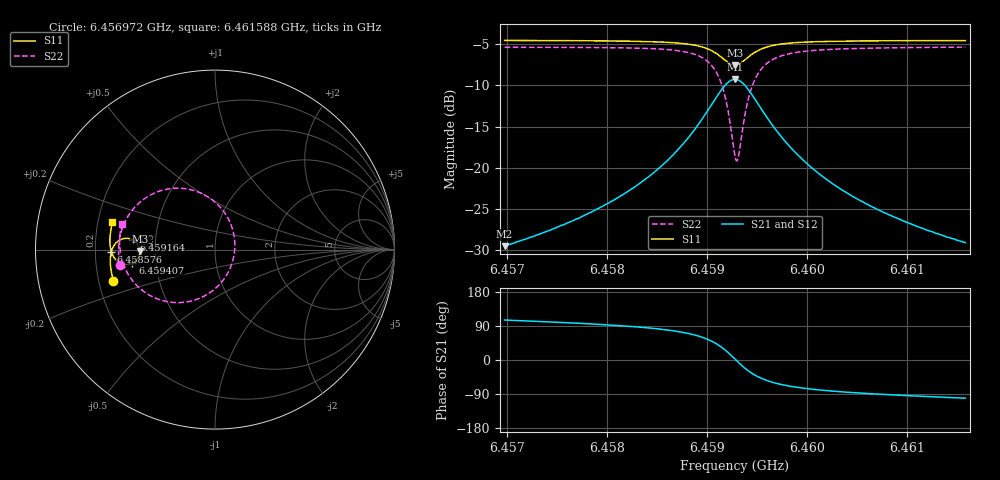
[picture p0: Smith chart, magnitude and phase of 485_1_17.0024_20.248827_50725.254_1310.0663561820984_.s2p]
#  HZ  S  RI  R  50.00
! Rohde & Schwarz Vector Network Analyzer
! Rohde-Schwarz,ZNB20-2Port,1311601062101988,3.16
! Created: UTC 3/20/2024, 11:13:50 PM
! freq[Hz]  re:S11  im:S11  re:S21  im:S21  re:S12  im:S12  re:S22  im:S22
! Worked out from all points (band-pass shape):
!   401 points, 6.456972 GHz to 6.461588 GHz, reference 50 ohm
!   highest |S21| = -9.26 dB at 6.45928 GHz (marker M1); lowest = -29.5 dB at 6.456972 GHz (marker M2)
!   |S21| within 3 dB of the highest: 6.459049 GHz to 6.459511 GHz (461.9 kHz wide, 0.00715 % of centre)
!   lowest |S11| = -7.6 dB at 6.45928 GHz (marker M3), VSWR 2.44, Z = 20.5 - j0.492 ohm
!   |S11| at or under -10 dB: nowhere
!   |S22| runs from -19.1 to -5.4 dB; largest |S21 - S12| = 0.014
!   S11 on the Smith chart (normalised r, x): 6.456972 GHz: 0.26, -0.14; 6.458576 GHz: 0.27, -0.01; 6.459164 GHz: 0.37, +0.05; 6.459407 GHz: 0.37, -0.07; 6.461588 GHz: 0.26, +0.12
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6.4569716e9  -0.5667 -0.1725  -0.00899 0.0322  -0.00724 0.0324  -0.5316 -0.0854
6.4577448e9  -0.5807 -0.1049  -0.00573 0.0502  -0.00311 0.0496  -0.5373 0.00476
6.4581603e9  -0.5837 -0.0636  5.31e-05 0.0688  0.0033 0.0676  -0.5297 0.0701
6.4585181e9  -0.5799 -0.021  0.0141 0.0982  0.018 0.0956  -0.5039 0.1499
6.4585758e9  -0.578 -0.0131  0.0185 0.1052  0.0224 0.1022  -0.4959 0.1664
6.4587835e9  -0.5651 0.0189  0.0457 0.1374  0.0499 0.1325  -0.4447 0.239
6.4589335e9  -0.5427 0.0453  0.0908 0.1679  0.0942 0.1612  -0.3615 0.3034
6.459072e9  -0.499 0.0629  0.1776 0.1844  0.1785 0.177  -0.2029 0.3422
6.4591644e9  -0.4547 0.0527  0.2671 0.1535  0.2673 0.1475  -0.0372 0.2924
6.4592105e9  -0.4336 0.034  0.3105 0.1107  0.3118 0.1056  0.0456 0.2166
6.4592798e9  -0.4188 -0.00991  0.3439 0.0145  0.3474 0.00757  0.1105 0.0377
6.4592913e9  -0.4192 -0.018  0.3437 -0.00316  0.3475 -0.0107  0.1104 0.00424
6.4593144e9  -0.4227 -0.0335  0.3383 -0.0378  0.3421 -0.0468  0.0993 -0.0615
6.4593606e9  -0.4381 -0.0593  0.3098 -0.0974  0.312 -0.1093  0.0422 -0.1743
6.4594067e9  -0.4601 -0.0757  0.268 -0.1386  0.2672 -0.1516  -0.0423 -0.249
6.459499e9  -0.5033 -0.0824  0.1836 -0.1696  0.1776 -0.1813  -0.2105 -0.2954
6.4596491e9  -0.547 -0.062  0.0959 -0.1559  0.0876 -0.1622  -0.3779 -0.2463
6.4598107e9  -0.5684 -0.0343  0.0514 -0.1281  0.0437 -0.131  -0.458 -0.1747
6.460053e9  -0.5811 0.00125  0.0221 -0.0968  0.0165 -0.0974  -0.506 -0.0923
6.4603992e9  -0.5856 0.0424  0.00626 -0.0701  0.00214 -0.0697  -0.5273 -0.0133
6.4608263e9  -0.5835 0.085  -0.00152 -0.0516  -0.00429 -0.0508  -0.5315 0.0547
6.461588e9  -0.5713 0.1525  -0.0065 -0.0344  -0.0082 -0.0335  -0.5201 0.1445
